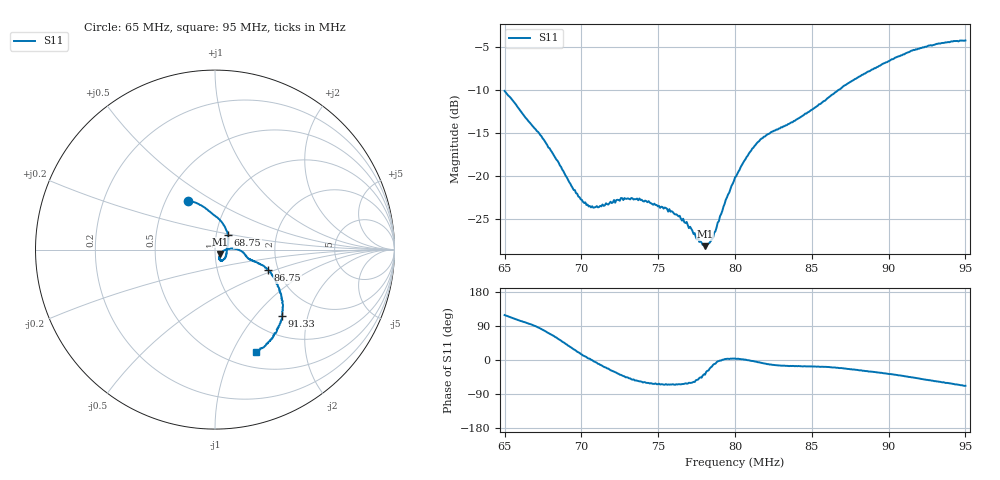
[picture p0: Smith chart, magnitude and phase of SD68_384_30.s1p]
! NanoVNA-App
! Date: 2025-08-02 15:42:37
! Start: 65MHz Stop: 95MHz Points: 401
! S-Parameter data: F S11
# Hz S RI R 50
!  Frequency  S11_Real  S11_Imag
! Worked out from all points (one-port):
!   401 points, 65 MHz to 95 MHz, reference 50 ohm
!   lowest |S11| = -28.2 dB at 78.05 MHz (marker M1), VSWR 1.08, Z = 53.1 - j2.58 ohm
!   |S11| at or under -10 dB: start of sweep to 86.76 MHz
!   S11 on the Smith chart (normalised r, x): 65 MHz: 0.65, +0.39; 68.75 MHz: 1.14, +0.19; 86.75 MHz: 1.76, -0.45; 91.33 MHz: 1.36, -1.39; 95 MHz: 0.68, -1.24
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6.5e7  -0.149 0.2733
6.65e7  -0.0254 0.2086
6.755e7  0.0335 0.1587
6.875e7  0.072 0.0813
6.98e7  0.0708 0.0264
7.0475e7  0.0661 0.00428
7.115e7  0.0646 -0.0121
7.25e7  0.0556 -0.0448
7.43e7  0.0346 -0.0608
7.625e7  0.0252 -0.0532
7.7e7  0.0248 -0.0428
7.76e7  0.027 -0.0339
7.805e7  0.0303 -0.0243
7.8275e7  0.0356 -0.0186
7.8575e7  0.0425 -0.00964
7.94e7  0.0723 0.0035
8e7  0.0974 0.00647
8.075e7  0.1281 0.000329
8.1575e7  0.158 -0.0165
8.375e7  0.197 -0.0552
8.5775e7  0.2578 -0.0855
8.675e7  0.2947 -0.1138
8.75e7  0.3193 -0.1458
8.9675e7  0.3682 -0.2581
9.125e7  0.3756 -0.3623
9.1325e7  0.3712 -0.3696
9.32e7  0.322 -0.4892
9.5e7  0.2287 -0.5683
